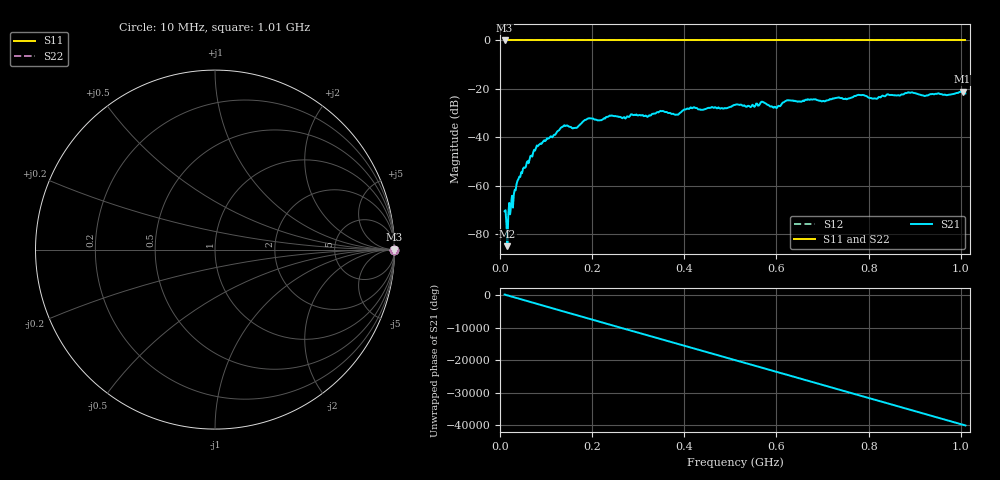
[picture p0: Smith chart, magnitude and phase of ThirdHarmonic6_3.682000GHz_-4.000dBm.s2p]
! 8/17/2025 12:28:08 PM
! C:\ANRITSUVNA\TEMP\TEMP.S2P
! CHANNEL.1
! TR.MEASUREMENT
! RAW.DATA
! RF.CORRECTION.OFF
! AVERAGING.OFF
! IF.BANDWIDTH: 5KHZ
! SWEEPTYPE:  FREQ.SWEEP(Linear)
! Reference Plane Port Info
! PORT:  PORT1  PORT2
! DISTANCE:  0  m  0  m
! TIME:  0  s  0  s
! PHASE.OFFSET:  0  deg.  0  deg.
! LOSS:  0  dB  0  dB
! REF.LOSS:  0  dB  0  dB
! REF.FREQ:  0  Hz  0  Hz
! Power Info
! POWER:  -20  dBm  -20  dBm
! EFF.POWER:  -20  dBm  -20  dBm
! SOURCE.ATTEN:  0  dB  0  dB
! TEST.ATTEN:  0  dB  0  dB
# GHZ S RI R 50.0
! FREQ.GHZ  S11RE  S11IM  S21RE  S21IM  S12RE  S12IM  S22RE  S22IM
!; PortSelection: Port_12
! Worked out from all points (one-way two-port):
!   501 points, 10 MHz to 1.01 GHz, reference 50 ohm
!   highest |S21| = -21.17 dB at 1.004 GHz (marker M1); lowest = -84.9 dB at 16 MHz (marker M2)
!   lowest |S11| = 0.0 dB at 10 MHz (marker M3)
!   |S11| at or under -10 dB: nowhere
!   |S22| runs from 0.0 to 0.0 dB; largest |S21 - S12| = 1.1
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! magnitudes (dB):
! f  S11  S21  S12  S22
! 10 MHz  0.0  -70.5  0.0  0.0
! 12 MHz  0.0  -70.1  0.0  0.0
! 16 MHz  0.0  -84.9  0.0  0.0
! 18 MHz  0.0  -72.2  0.0  0.0
! 22 MHz  0.0  -71.7  0.0  0.0
! 42 MHz  0.0  -56.2  0.0  0.0
! 78 MHz  0.0  -44.4  0.0  0.0
! 136 MHz  0.0  -35.6  0.0  0.0
! 162 MHz  0.0  -36.1  0.0  0.0
! 178 MHz  0.0  -33.9  0.0  0.0
! 194 MHz  0.0  -32.1  0.0  0.0
! 344 MHz  0.0  -29.7  0.0  0.0
! 384 MHz  0.0  -30.6  0.0  0.0
! 416 MHz  0.0  -27.9  0.0  0.0
! 510 MHz  0.0  -26.6  0.0  0.0
! 570 MHz  0.0  -25.3  0.0  0.0
! 598 MHz  0.0  -27.5  0.0  0.0
! 624 MHz  0.0  -24.6  0.0  0.0
! 678 MHz  0.0  -24.4  0.0  0.0
! 844 MHz  0.0  -22.4  0.0  0.0
! 1.004 GHz  0.0  -21.2  0.0  0.0
! 1.01 GHz  0.0  -21.8  0.0  0.0
